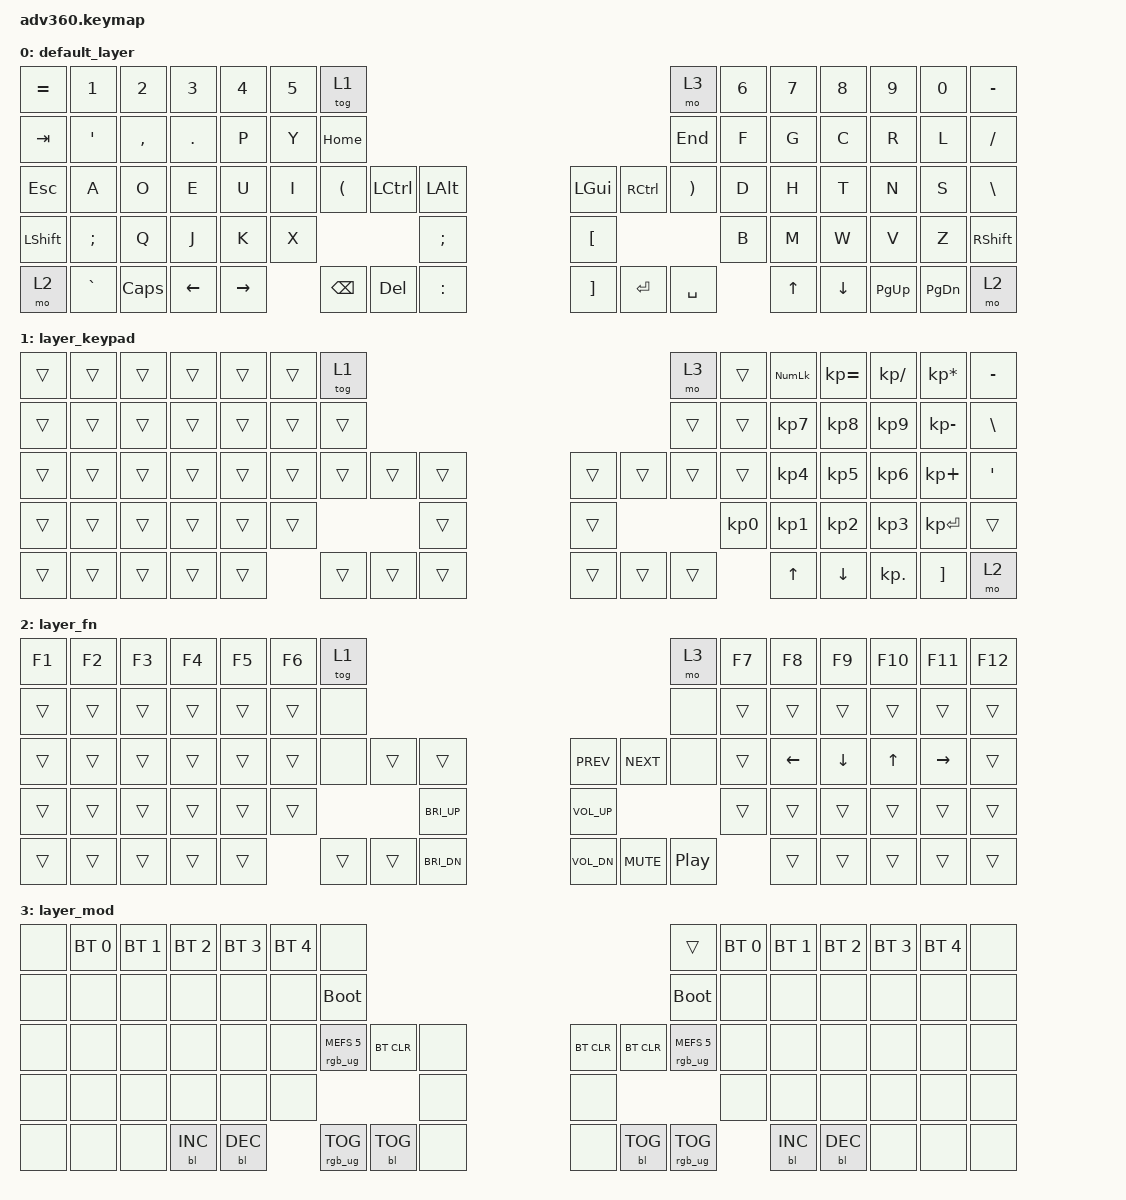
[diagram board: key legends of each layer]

/*
 * Copyright (c) 2020 The ZMK Contributors
 *
 * SPDX-License-Identifier: MIT
 */


/* THIS FILE WAS GENERATED!
 *
 * This file was generated automatically. You may or may not want to
 * edit it directly.
 */

#include <behaviors.dtsi>
#include <dt-bindings/zmk/keys.h>
#include <dt-bindings/zmk/bt.h>
#include <dt-bindings/zmk/rgb.h>
#include <dt-bindings/zmk/backlight.h>

/ {
  behaviors {
    #include "macros.dtsi"

    hm: homerow_mods {
        compatible = "zmk,behavior-hold-tap";
        label = "HOMEROW_MODS";
        #binding-cells = <2>;
        tapping-term-ms = <200>;
        quick_tap_ms = <175>;
        flavor = "tap-preferred";
        bindings = <&kp>, <&kp>;
    };
  };

    keymap {
        compatible = "zmk,keymap";

        //   Layer 0: Dvorak with custom mappings for common programming characters
        //   ,--------------------------------------------------.                                           ,--------------------------------------------------.
        //   |    =   |   1  |   2  |   3  |  4   |   5  | Tog 1|                                           | Mod 3|   6  |   7  |   8  |   9  |   0  |   -    |
        //   |--------+------+------+------+------+------+------|                                           |------+------+------+------+------+------+--------|
        //   |   Tab  |   '  |   ,  |   .  |   P  |   Y  | Home |                                           | End  |   F  |   G  |   C  |   R  |   L  |    /   |
        //   |--------+------+------+------+------+------+------|       ,-----+-----.  ,-----+-----.        |------+------+------+------+------+------+--------|
        //   |   Esc  |   A  |   O  |   E  |   U  |   I  |  (   |       |L Ctl|L Alt|  |L Gui|R ctl|        |  )   |   D  |   H  |   T  |   N  |   S  |   \    |
        //   |--------+------+------+------+------+------+------' .-----+-----+-----|  |-----+-----+-----.  '------+------+------+------+------+------+--------|
        //   | L Shift|   ;  |   Q  |   J  |   K  |   X  |        |Back |     |  ;  |  |  [  |     |     |         |   B  |   M  |   W  |   V  |   Z  | R Shift|
        //   |--------+------+------+------+------+------'        |Space| Del |-----|  |-----|Enter|Space|         '------+------+------+------+------+--------|
        //   |  Mod 2 |   `  | CAPS | Left | Right|               |     |     |  :  |  |  ]  |     |     |                |  Up  | Down | PgUp | PgDn |  Mod 2 |
        //   `--------+------+------+------+------'               `-----+-----+-----'  `-----+-----+-----'                '------+------+------+------+--------'

        default_layer {
          bindings = <
            &kp EQUAL   &kp N1           &kp N2      &kp N3       &kp N4      &kp N5   &tog 1                                                                        &mo 3      &kp N6   &kp N7   &kp N8     &kp N9      &kp N0      &kp MINUS
            &kp TAB     &kp APOSTROPHE   &kp COMMA   &kp PERIOD   &kp P       &kp Y    &kp HOME                                                                      &kp END    &kp F    &kp G    &kp C      &kp R       &kp L       &kp SLASH
            &kp ESC     &kp A            &kp O       &kp E        &kp U       &kp I    &kp LPAR   &kp LCTRL   &kp LALT                        &kp LGUI   &kp RCTRL   &kp RPAR   &kp D    &kp H    &kp T      &kp N       &kp S       &kp BSLH
            &kp LSHFT   &kp SEMICOLON    &kp Q       &kp J        &kp K       &kp X                           &kp SEMI                        &kp LBKT                          &kp B    &kp M    &kp W      &kp V       &kp Z       &kp RSHFT
            &mo 2       &kp GRAVE        &kp CAPS    &kp LEFT     &kp RIGHT            &kp BSPC   &kp DEL     &kp COLON                       &kp RBKT   &kp ENTER   &kp SPACE           &kp UP   &kp DOWN   &kp PG_UP   &kp PG_DN   &mo 2
          >;
        };

        //   Layer 1: Keypad
        //   ,--------------------------------------------------.                                           ,--------------------------------------------------.
        //   |        |      |      |      |      |      | Tog 1|                                           | Mod 3|      | NumLk|   =  |   /  |   *  |   -    |
        //   |--------+------+------+------+------+------+------|                                           |------+------+------+------+------+------+--------|
        //   |        |      |      |      |      |      |      |                                           |      |      |  7   |  8   |  9   |  -   |   \    |
        //   |--------+------+------+------+------+------+------|       ,-----+-----.  ,-----+-----.        |------+------+------+------+------+------+--------|
        //   |        |      |      |      |      |      |      |       |     |     |  |     |     |        |      |      |  4   |  5   |  6   |  +   | Sqrt   |
        //   |--------+------+------+------+------+------+------' .-----+-----+-----|  |-----+-----+-----.  '------+------+------+------+------+------+--------|
        //   |        |      |      |      |      |      |        |     |     |     |  |     |     |     |  |      |   0  |  1   |  2   |  3   |Enter |        |
        //   |--------+------+------+------+------+------'        |     |     |-----|  |-----|     |     |  '------+------+------+------+------+---------------|
        //   |        |      |      |      |      |               |     |     |     |  |     |     |     |                |  Up  | Down |  .   |  ]   |  Mod 2 |
        //   `--------+------+------+------+------'               `-----+-----+-----'  `-----+-----+-----'                '------+------+------+------+--------'

        layer_keypad {
          bindings = <
            &trans   &trans   &trans   &trans   &trans   &trans   &tog 1                                                             &mo 3    &trans      &kp KP_NUM   &kp KP_EQUAL   &kp KP_DIVIDE   &kp KP_MULTIPLY   &kp MINUS
            &trans   &trans   &trans   &trans   &trans   &trans   &trans                                                             &trans   &trans      &kp KP_N7    &kp KP_N8      &kp KP_N9       &kp KP_MINUS      &kp BSLH
            &trans   &trans   &trans   &trans   &trans   &trans   &trans   &trans   &trans                         &trans   &trans   &trans   &trans      &kp KP_N4    &kp KP_N5      &kp KP_N6       &kp KP_PLUS       &kp SQT
            &trans   &trans   &trans   &trans   &trans   &trans                     &trans                         &trans                     &kp KP_N0   &kp KP_N1    &kp KP_N2      &kp KP_N3       &kp KP_ENTER      &trans
            &trans   &trans   &trans   &trans   &trans            &trans   &trans   &trans                         &trans   &trans   &trans               &kp UP       &kp DOWN       &kp KP_DOT      &kp RBKT          &mo 2
          >;
        };


        //   Layer 2: Media and Brightness controls and basic HJKL-style home row navigation
        //   ,--------------------------------------------------.                                           ,--------------------------------------------------.
        //   |   F1   |  F2  |  F3  |  F4  |  F5  |  F6  | Tog 1|                                           | Mod 3|  F7  |  F8  |  F9  |  F10 |  F11 |  F12   |
        //   |--------+------+------+------+------+------+------|                                           |------+------+------+------+------+------+--------|
        //   |        |      |      |      |      |      |      |                                           |      |      |      |      |      |      |        |
        //   |--------+------+------+------+------+------+------|       ,-----+-----.  ,-----+-----.        |------+------+------+------+------+------+--------|
        //   |        |      |      |      |      |      |      |       |     |     |  |Prev |Next |        |      |      | Left | Down |  Up  |Right |        |
        //   |--------+------+------+------+------+------+------' .-----+-----+-----|  |-----+-----+-----.  '------+------+------+------+------+------+--------|
        //   |        |      |      |      |      |      |        |     |     |B Up |  | V Up|     |Play |         |      |      |      |      |      |        |
        //   |--------+------+------+------+------+------'        |     |     |-----|  |-----|Mute |Pause|         '------+------+------+------+------+--------|
        //   |        |      |      |      |      |               |     |     |B Dn |  | V Dn|     |     |                |      |      |      |      |        |
        //   `--------+------+------+------+------'               `-----+-----+-----'  `-----+-----+-----'                '------+------+------+------+--------'

        layer_fn {
          bindings = <
            &kp F1   &kp F2   &kp F3   &kp F4   &kp F5   &kp F6  &tog 1                                                                           &mo 3      &kp F7   &kp F8     &kp F9     &kp F10   &kp F11     &kp F12
            &trans   &trans   &trans   &trans   &trans   &trans  &none                                                                            &none      &trans   &trans     &trans     &trans    &trans      &trans
            &trans   &trans   &trans   &trans   &trans   &trans  &none    &trans   &trans                             &kp C_PREV     &kp C_NEXT   &none      &trans   &kp LEFT   &kp DOWN   &kp UP    &kp RIGHT   &trans
            &trans   &trans   &trans   &trans   &trans   &trans                    &kp C_BRI_UP                       &kp C_VOL_UP                           &trans   &trans     &trans     &trans    &trans      &trans
            &trans   &trans   &trans   &trans   &trans           &trans   &trans   &kp C_BRI_DN                       &kp C_VOL_DN   &kp C_MUTE   &kp C_PP            &trans     &trans     &trans    &trans      &trans
          >;
        };

        layer_mod {
            bindings = <
  &none  &bt BT_SEL 0  &bt BT_SEL 1  &bt BT_SEL 2  &bt BT_SEL 3     &bt BT_SEL 4                             &none       &trans  &bt BT_SEL 0  &bt BT_SEL 1     &bt BT_SEL 2  &bt BT_SEL 3  &bt BT_SEL 4                   &none
  &none         &none         &none         &none         &none            &none                       &bootloader  &bootloader         &none         &none            &none         &none         &none                   &none
  &none         &none         &none         &none         &none            &none            &rgb_ug RGB_MEFS_CMD 5   &bt BT_CLR         &none                                   &bt BT_CLR    &bt BT_CLR  &rgb_ug RGB_MEFS_CMD 5   &none   &none   &none   &none   &none   &none
  &none         &none         &none         &none         &none                    &none                     &none                            &none   &none   &none   &none   &none   &none   &none
  &none         &none         &none    &bl BL_INC    &bl BL_DEC  &rgb_ug RGB_TOG                        &bl BL_TOG        &none         &none    &bl BL_TOG  &rgb_ug RGB_TOG    &bl BL_INC    &bl BL_DEC                   &none   &none   &none
            >;
        };

    };
};
